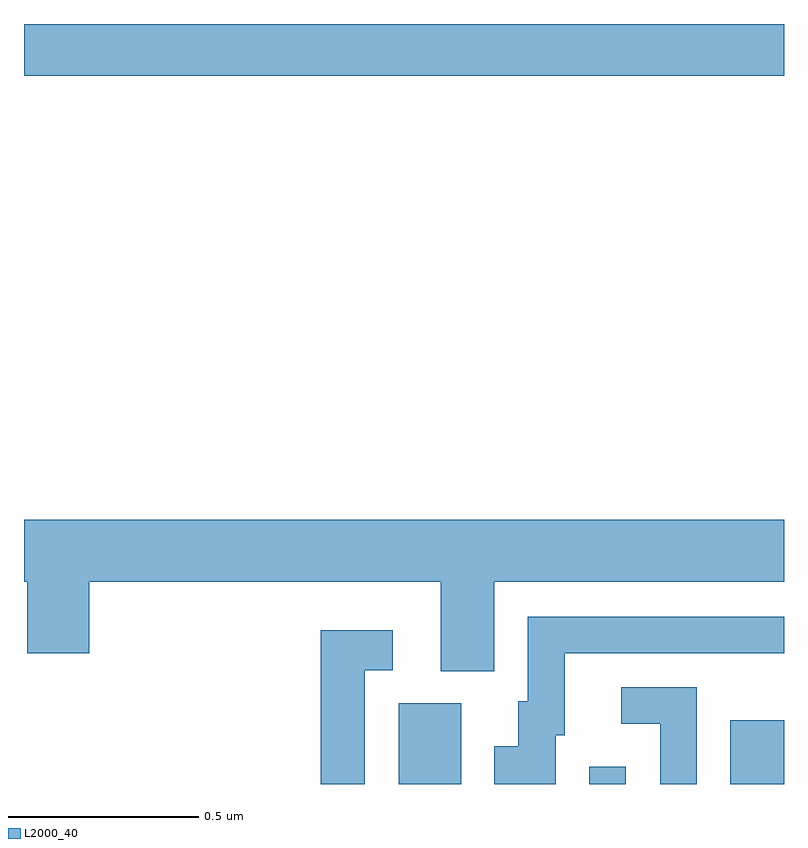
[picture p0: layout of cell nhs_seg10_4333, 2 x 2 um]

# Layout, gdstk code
import gdstk
lib = gdstk.Library(unit=1e-6, precision=1e-09)
def R(c, l, rs):  # rectangles x0, y0, x1, y1
    for r in rs: c.add(gdstk.rectangle(r[:2], r[2:], *l))
def P(c, l, *ps):  # polygons
    for p in ps: c.add(gdstk.Polygon(p, *l))
L2000_40 = (2000, 40)

nhs_seg10_4333 = lib.new_cell('nhs_seg10_4333')
R(nhs_seg10_4333, L2000_40, [(165.986,1250.5,166.15,1250.712), (166.488,1250.5,166.584,1250.545), (166.859,1250.5,167,1250.668), (165,1252.364,167,1252.5)])
P(nhs_seg10_4333, L2000_40, [(166.237,1251.032),(167,1251.032),(167,1251.196),(165,1251.196),(165,1251.032),(165.008,1251.032),(165.008,1250.844),(165.172,1250.844),(165.172,1251.032),(166.097,1251.032),(166.097,1250.797),(166.237,1250.797)],
  [(166.399,1250.628),(166.423,1250.628),(166.423,1250.844),(167,1250.844),(167,1250.94),(166.326,1250.94),(166.326,1250.718),(166.301,1250.718),(166.301,1250.599),(166.238,1250.599),(166.238,1250.5),(166.399,1250.5)],
  [(165.897,1250.799),(165.97,1250.799),(165.97,1250.905),(165.781,1250.905),(165.781,1250.5),(165.897,1250.5)],
  [(166.77,1250.754),(166.572,1250.754),(166.572,1250.658),(166.674,1250.658),(166.674,1250.5),(166.77,1250.5)])

lib.write_gds('nhs_seg10_4333.gds')
